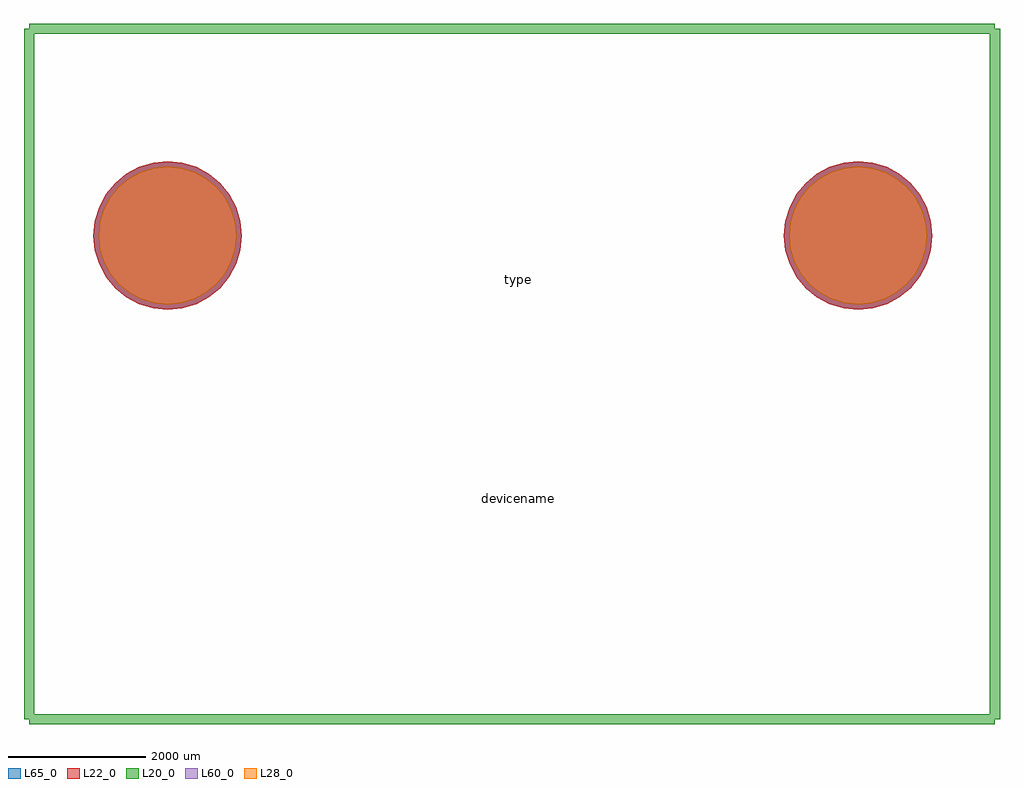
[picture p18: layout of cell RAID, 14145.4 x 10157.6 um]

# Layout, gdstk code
import gdstk
lib = gdstk.Library(unit=1e-6, precision=1e-09)
def P(c, l, *ps):  # polygons
    for p in ps: c.add(gdstk.Polygon(p, *l))
L20_0 = (20, 0)
L22_0 = (22, 0)
L28_0 = (28, 0)
L60_0 = (60, 0)
L65_0 = (65, 0)

raid = lib.new_cell('RAID')
P(raid, L22_0, [(5368.36,1905),(5347.69,2114.87),(5286.473,2316.676),(5187.062,2502.66),(5053.277,2665.677),(4890.26,2799.462),(4704.276,2898.873),(4502.47,2960.09),(4292.6,2980.76),(4082.73,2960.09),(3880.924,2898.873),(3694.94,2799.462),(3531.923,2665.677),(3398.138,2502.66),(3298.727,2316.676),(3237.51,2114.87),(3216.84,1905),(3237.51,1695.13),(3298.727,1493.324),(3398.138,1307.34),(3531.923,1144.323),(3694.94,1010.538),(3880.924,911.127),(4082.73,849.91),(4292.6,829.24),(4502.47,849.91),(4704.276,911.127),(4890.26,1010.538),(5053.277,1144.323),(5187.062,1307.34),(5286.473,1493.324),(5347.69,1695.13)],
  [(-4639.24,1905),(-4659.91,2114.87),(-4721.127,2316.676),(-4820.538,2502.66),(-4954.323,2665.677),(-5117.34,2799.462),(-5303.324,2898.873),(-5505.13,2960.09),(-5715,2980.76),(-5924.87,2960.09),(-6126.676,2898.873),(-6312.66,2799.462),(-6475.677,2665.677),(-6609.462,2502.66),(-6708.873,2316.676),(-6770.09,2114.87),(-6790.76,1905),(-6770.09,1695.13),(-6708.873,1493.324),(-6609.462,1307.34),(-6475.677,1144.323),(-6312.66,1010.538),(-6126.676,911.127),(-5924.87,849.91),(-5715,829.24),(-5505.13,849.91),(-5303.324,911.127),(-5117.34,1010.538),(-4954.323,1144.323),(-4820.538,1307.34),(-4721.127,1493.324),(-4659.91,1695.13)])
P(raid, L28_0, [(5293.36,1905),(5274.131,2100.239),(5217.182,2287.974),(5124.702,2460.992),(5000.244,2612.644),(4848.592,2737.102),(4675.574,2829.582),(4487.839,2886.531),(4292.6,2905.76),(4097.361,2886.531),(3909.626,2829.582),(3736.608,2737.102),(3584.956,2612.644),(3460.498,2460.992),(3368.018,2287.974),(3311.069,2100.239),(3291.84,1905),(3311.069,1709.761),(3368.018,1522.026),(3460.498,1349.008),(3584.956,1197.356),(3736.608,1072.898),(3909.626,980.418),(4097.361,923.469),(4292.6,904.24),(4487.839,923.469),(4675.574,980.418),(4848.592,1072.898),(5000.244,1197.356),(5124.702,1349.008),(5217.182,1522.026),(5274.131,1709.761)],
  [(-4714.24,1905),(-4733.469,2100.239),(-4790.418,2287.974),(-4882.898,2460.992),(-5007.356,2612.644),(-5159.008,2737.102),(-5332.026,2829.582),(-5519.761,2886.531),(-5715,2905.76),(-5910.239,2886.531),(-6097.974,2829.582),(-6270.992,2737.102),(-6422.644,2612.644),(-6547.102,2460.992),(-6639.582,2287.974),(-6696.531,2100.239),(-6715.76,1905),(-6696.531,1709.761),(-6639.582,1522.026),(-6547.102,1349.008),(-6422.644,1197.356),(-6270.992,1072.898),(-6097.974,980.418),(-5910.239,923.469),(-5715,904.24),(-5519.761,923.469),(-5332.026,980.418),(-5159.008,1072.898),(-5007.356,1197.356),(-4882.898,1349.008),(-4790.418,1522.026),(-4733.469,1709.761)])
P(raid, L60_0, [(5293.36,1905),(5274.131,2100.239),(5217.182,2287.974),(5124.702,2460.992),(5000.244,2612.644),(4848.592,2737.102),(4675.574,2829.582),(4487.839,2886.531),(4292.6,2905.76),(4097.361,2886.531),(3909.626,2829.582),(3736.608,2737.102),(3584.956,2612.644),(3460.498,2460.992),(3368.018,2287.974),(3311.069,2100.239),(3291.84,1905),(3311.069,1709.761),(3368.018,1522.026),(3460.498,1349.008),(3584.956,1197.356),(3736.608,1072.898),(3909.626,980.418),(4097.361,923.469),(4292.6,904.24),(4487.839,923.469),(4675.574,980.418),(4848.592,1072.898),(5000.244,1197.356),(5124.702,1349.008),(5217.182,1522.026),(5274.131,1709.761)],
  [(-4714.24,1905),(-4733.469,2100.239),(-4790.418,2287.974),(-4882.898,2460.992),(-5007.356,2612.644),(-5159.008,2737.102),(-5332.026,2829.582),(-5519.761,2886.531),(-5715,2905.76),(-5910.239,2886.531),(-6097.974,2829.582),(-6270.992,2737.102),(-6422.644,2612.644),(-6547.102,2460.992),(-6639.582,2287.974),(-6696.531,2100.239),(-6715.76,1905),(-6696.531,1709.761),(-6639.582,1522.026),(-6547.102,1349.008),(-6422.644,1197.356),(-6270.992,1072.898),(-6097.974,980.418),(-5910.239,923.469),(-5715,904.24),(-5519.761,923.469),(-5332.026,980.418),(-5159.008,1072.898),(-5007.356,1197.356),(-4882.898,1349.008),(-4790.418,1522.026),(-4733.469,1709.761)])
P(raid, L65_0, [(5368.36,1905),(5347.69,2114.87),(5286.473,2316.676),(5187.062,2502.66),(5053.277,2665.677),(4890.26,2799.462),(4704.276,2898.873),(4502.47,2960.09),(4292.6,2980.76),(4082.73,2960.09),(3880.924,2898.873),(3694.94,2799.462),(3531.923,2665.677),(3398.138,2502.66),(3298.727,2316.676),(3237.51,2114.87),(3216.84,1905),(3237.51,1695.13),(3298.727,1493.324),(3398.138,1307.34),(3531.923,1144.323),(3694.94,1010.538),(3880.924,911.127),(4082.73,849.91),(4292.6,829.24),(4502.47,849.91),(4704.276,911.127),(4890.26,1010.538),(5053.277,1144.323),(5187.062,1307.34),(5286.473,1493.324),(5347.69,1695.13)],
  [(-4639.24,1905),(-4659.91,2114.87),(-4721.127,2316.676),(-4820.538,2502.66),(-4954.323,2665.677),(-5117.34,2799.462),(-5303.324,2898.873),(-5505.13,2960.09),(-5715,2980.76),(-5924.87,2960.09),(-6126.676,2898.873),(-6312.66,2799.462),(-6475.677,2665.677),(-6609.462,2502.66),(-6708.873,2316.676),(-6770.09,2114.87),(-6790.76,1905),(-6770.09,1695.13),(-6708.873,1493.324),(-6609.462,1307.34),(-6475.677,1144.323),(-6312.66,1010.538),(-6126.676,911.127),(-5924.87,849.91),(-5715,829.24),(-5505.13,849.91),(-5303.324,911.127),(-5117.34,1010.538),(-4954.323,1144.323),(-4820.538,1307.34),(-4721.127,1493.324),(-4659.91,1695.13)])
raid.add(gdstk.FlexPath([(-7721.6,-5105.4),(-7721.6,1930.4)], 149.998, ends="flush", simple_path=True, layer=20, datatype=0))  # L20_0
raid.add(gdstk.FlexPath([(6273.8,-5105.4),(-7721.6,-5105.4)], 149.998, ends="flush", simple_path=True, layer=20, datatype=0))  # L20_0
raid.add(gdstk.FlexPath([(6273.8,4902.2),(6273.8,-5105.4)], 149.998, ends="flush", simple_path=True, layer=20, datatype=0))  # L20_0
raid.add(gdstk.FlexPath([(-7721.6,4902.2),(6273.8,4902.2)], 149.998, ends="flush", simple_path=True, layer=20, datatype=0))  # L20_0
raid.add(gdstk.FlexPath([(-7721.6,1905),(-7721.6,4902.2)], 149.998, ends="flush", simple_path=True, layer=20, datatype=0))  # L20_0
raid.add(gdstk.Label('type', (-635,1270), layer=9, texttype=0))
raid.add(gdstk.Label('devicename', (-635,-1905), layer=9, texttype=0))

lib.write_gds('RAID.gds')
